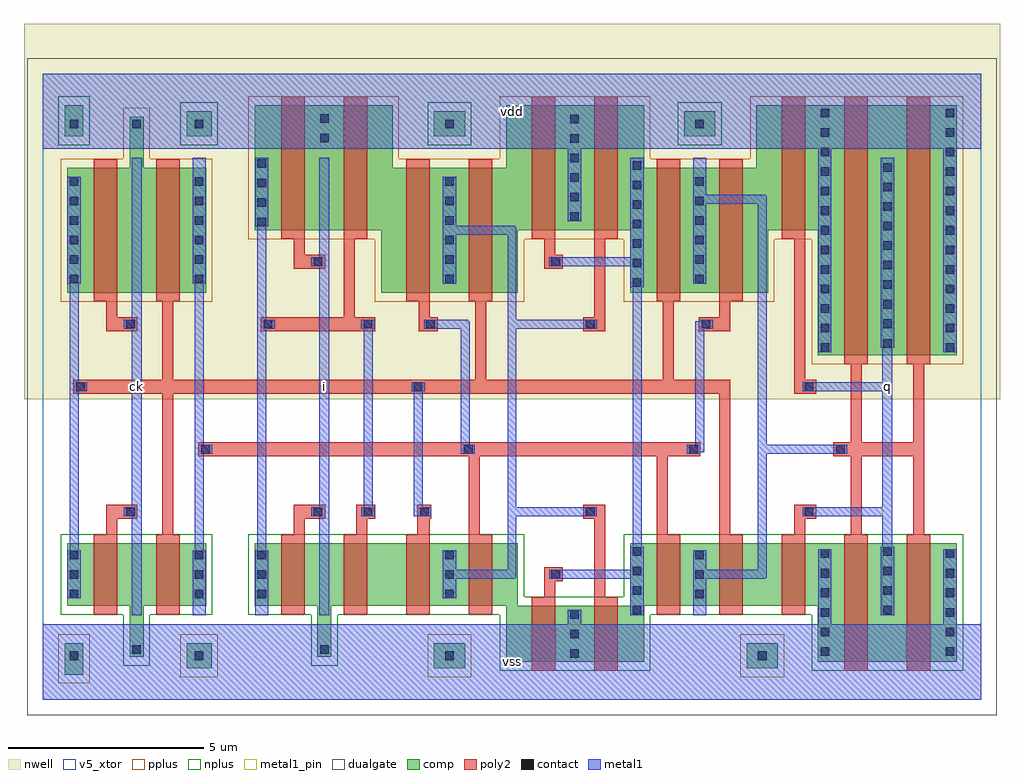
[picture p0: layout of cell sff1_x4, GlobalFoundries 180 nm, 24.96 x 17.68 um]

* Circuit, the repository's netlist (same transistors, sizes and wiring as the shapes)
* sff1_x4
.subckt sff1_x4 vss ck vdd i q
Mn_ck nckr ck vss vss nfet_06v0 l=0.6um w=1.6um
Mp_ck nckr ck vdd vdd pfet_06v0 l=0.6um w=3.2um
Mp_ckr_2 sff_s ckr _net0 vdd pfet_06v0 l=0.6um w=3.2um
Mn_ckr_1 sff_m ckr _net4 vss nfet_06v0 l=0.6um w=1.6um
Mn_ckr_2 y ckr sff_s vss nfet_06v0 l=0.6um w=1.6um
Mp_ckr_1 _net1 ckr sff_m vdd pfet_06v0 l=0.6um w=3.2um
Mp_i u i vdd vdd pfet_06v0 l=0.6um w=3.2um
Mn_i u i vss vss nfet_06v0 l=0.6um w=1.6um
Mn_nckr_1 vss nckr ckr vss nfet_06v0 l=0.6um w=1.6um
Mp_nckr_1 vdd nckr ckr vdd pfet_06v0 l=0.6um w=3.2um
Mp_nckr_2 sff_m nckr _net5 vdd pfet_06v0 l=0.6um w=3.2um
Mp_nckr_3 y nckr sff_s vdd pfet_06v0 l=0.6um w=3.2um
Mn_nckr_2 _net2 nckr sff_m vss nfet_06v0 l=0.6um w=1.6um
Mn_nckr_3 sff_s nckr _net6 vss nfet_06v0 l=0.6um w=1.6um
Mn_q_1 _net6 q vss vss nfet_06v0 l=0.6um w=1.6um
Mp_q_1 _net0 q vdd vdd pfet_06v0 l=0.6um w=3.2um
Mp_sffm_1 vdd sff_m y vdd pfet_06v0 l=0.6um w=3.2um
Mn_sffm_1 vss sff_m y vss nfet_06v0 l=0.6um w=1.44um
Mp_sffs_1 vdd sff_s q vdd pfet_06v0 l=0.6um w=6.4um
Mn_sffs_1 vss sff_s q vss nfet_06v0 l=0.6um w=3.04um
Mp_sffs_2 q sff_s vdd vdd pfet_06v0 l=0.6um w=6.4um
Mn_sffs_2 q sff_s vss vss nfet_06v0 l=0.6um w=3.04um
Mn_u vss u _net2 vss nfet_06v0 l=0.6um w=1.6um
Mp_u vdd u _net1 vdd pfet_06v0 l=0.6um w=3.2um
Mp_y_1 _net5 y vdd vdd pfet_06v0 l=0.6um w=3.2um
Mn_y_1 _net4 y vss vss nfet_06v0 l=0.6um w=1.44um
.ends sff1_x4

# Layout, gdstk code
import gdstk
lib = gdstk.Library(unit=1e-6, precision=1e-09)
def R(c, l, rs):  # rectangles x0, y0, x1, y1
    for r in rs: c.add(gdstk.rectangle(r[:2], r[2:], *l))
def A(c, l, x, y, w, h, nx, ny, dx, dy):  # array of equal rectangles
    R(c, l, [(x+i*dx, y+j*dy, x+i*dx+w, y+j*dy+h) for i in range(nx) for j in range(ny)])
def P(c, l, *ps):  # polygons
    for p in ps: c.add(gdstk.Polygon(p, *l))
nwell = (21, 0)
comp = (22, 0)
poly2 = (30, 0)
pplus = (31, 0)
nplus = (32, 0)
contact = (33, 0)
metal1 = (34, 0)
metal1_pin = (34, 10)
dualgate = (55, 0)
v5_xtor = (112, 1)

sff1_x4 = lib.new_cell('sff1_x4')
R(sff1_x4, nwell, [(-0.48,7.68,24.48,17.28)])
R(sff1_x4, comp, [(0.56,0.64,1.04,1.44), (3.68,0.8,4.32,1.44), (10,0.8,10.8,1.44), (18,0.8,18.8,1.44), (0.56,14.4,1.04,15.2), (3.68,14.4,4.32,15.04), (10,14.4,10.8,15.04), (16.4,14.4,17.2,15.04)])
P(sff1_x4, comp, [(2.22,1.1),(2.22,2.4),(0.62,2.4),(0.62,4),(4.18,4),(4.18,2.4),(2.58,2.4),(2.58,1.1)],
  [(0.62,10.4),(0.62,13.6),(2.22,13.6),(2.22,14.9),(2.58,14.9),(2.58,13.6),(4.18,13.6),(4.18,10.4)],
  [(11.85,0.96),(11.85,2.4),(7.38,2.4),(7.38,1.1),(7.02,1.1),(7.02,2.4),(5.42,2.4),(5.42,4),(12.15,4),(12.15,2.4),(15.02,2.4),(15.02,4),(23.38,4),(23.38,0.96),(19.82,0.96),(19.82,2.4),(15.38,2.4),(15.38,0.96)],
  [(19.82,8.8),(19.82,12),(18.55,12),(18.55,10.4),(15.02,10.4),(15.02,12),(12.15,12),(12.15,10.4),(8.65,10.4),(8.65,12),(5.42,12),(5.42,15.2),(8.95,15.2),(8.95,13.6),(11.85,13.6),(11.85,15.2),(15.38,15.2),(15.38,13.6),(18.25,13.6),(18.25,15.2),(23.38,15.2),(23.38,8.8)])
P(sff1_x4, poly2, [(2.9,2.18),(2.9,4.22),(3.06,4.22),(3.06,7.82),(0.78,7.82),(0.78,8.18),(3.06,8.18),(3.06,10.18),(2.9,10.18),(2.9,13.82),(3.5,13.82),(3.5,10.18),(3.34,10.18),(3.34,8.18),(11.06,8.18),(11.06,10.18),(10.9,10.18),(10.9,13.82),(11.5,13.82),(11.5,10.18),(11.34,10.18),(11.34,8.18),(15.86,8.18),(15.86,10.18),(15.7,10.18),(15.7,13.82),(16.3,13.82),(16.3,10.18),(16.14,10.18),(16.14,8.18),(17.58,8.18),(17.58,4.22),(17.9,4.22),(17.9,2.18),(17.3,2.18),(17.3,7.82),(3.34,7.82),(3.34,4.22),(3.5,4.22),(3.5,2.18)],
  [(9.3,2.18),(9.3,4.22),(9.58,4.22),(9.58,4.98),(9.94,4.98),(9.94,4.62),(9.9,4.62),(9.9,2.18)],
  [(1.62,9.42),(1.62,10.18),(1.3,10.18),(1.3,13.82),(1.9,13.82),(1.9,9.78),(2.42,9.78),(2.42,9.42)],
  [(1.3,2.18),(1.3,4.22),(1.62,4.22),(1.62,4.98),(2.42,4.98),(2.42,4.62),(1.9,4.62),(1.9,2.18)],
  [(20.5,0.74),(20.5,4.22),(20.66,4.22),(20.66,6.22),(20.22,6.22),(20.22,6.58),(20.66,6.58),(20.66,8.58),(20.5,8.58),(20.5,15.42),(21.1,15.42),(21.1,8.58),(20.94,8.58),(20.94,6.58),(22.26,6.58),(22.26,8.58),(22.1,8.58),(22.1,15.42),(22.7,15.42),(22.7,8.58),(22.54,8.58),(22.54,4.22),(22.7,4.22),(22.7,0.74),(22.1,0.74),(22.1,4.22),(22.26,4.22),(22.26,6.22),(20.94,6.22),(20.94,4.22),(21.1,4.22),(21.1,0.74)],
  [(9.62,9.42),(9.62,10.18),(9.3,10.18),(9.3,13.82),(9.9,13.82),(9.9,9.78),(10.1,9.78),(10.1,9.42)],
  [(10.9,2.18),(10.9,6.22),(3.98,6.22),(3.98,6.58),(16.82,6.58),(16.82,6.22),(15.98,6.22),(15.98,4.22),(16.3,4.22),(16.3,2.18),(15.7,2.18),(15.7,6.22),(11.18,6.22),(11.18,4.22),(11.5,4.22),(11.5,2.18)],
  [(16.78,9.42),(16.78,9.78),(17.3,9.78),(17.3,13.82),(17.9,13.82),(17.9,10.18),(17.58,10.18),(17.58,9.42)],
  [(13.82,9.42),(13.82,9.78),(14.1,9.78),(14.1,15.42),(14.7,15.42),(14.7,11.78),(14.38,11.78),(14.38,9.42)],
  [(14.1,0.74),(14.1,4.62),(13.82,4.62),(13.82,4.98),(14.38,4.98),(14.38,2.62),(14.7,2.62),(14.7,0.74)],
  [(12.5,0.74),(12.5,2.62),(12.82,2.62),(12.82,3.38),(13.3,3.38),(13.3,3.02),(13.1,3.02),(13.1,0.74)],
  [(12.82,11.02),(12.82,11.78),(12.5,11.78),(12.5,15.42),(13.1,15.42),(13.1,11.38),(13.3,11.38),(13.3,11.02)],
  [(5.58,9.42),(5.58,9.78),(7.7,9.78),(7.7,15.42),(8.3,15.42),(8.3,11.78),(7.98,11.78),(7.98,9.78),(8.5,9.78),(8.5,9.42)],
  [(7.7,2.18),(7.7,4.22),(8.02,4.22),(8.02,4.98),(8.5,4.98),(8.5,4.62),(8.3,4.62),(8.3,2.18)],
  [(6.1,2.18),(6.1,4.22),(6.42,4.22),(6.42,4.98),(7.22,4.98),(7.22,4.62),(6.7,4.62),(6.7,2.18)],
  [(6.42,11.02),(6.42,11.78),(6.1,11.78),(6.1,15.42),(6.7,15.42),(6.7,11.38),(7.22,11.38),(7.22,11.02)],
  [(19.22,7.82),(19.22,11.78),(18.9,11.78),(18.9,15.42),(19.5,15.42),(19.5,8.18),(19.78,8.18),(19.78,7.82)],
  [(18.9,2.18),(18.9,4.22),(19.22,4.22),(19.22,4.98),(19.78,4.98),(19.78,4.62),(19.5,4.62),(19.5,2.18)])
R(sff1_x4, pplus, [(0.4,0.41,1.2,1.67), (3.52,0.57,4.48,1.67), (9.84,0.57,10.96,1.67), (17.84,0.57,18.96,1.67)])
P(sff1_x4, pplus, [(19.66,8.57),(19.66,11.77),(18.71,11.77),(18.71,10.17),(14.86,10.17),(14.86,11.77),(12.31,11.77),(12.31,10.17),(8.49,10.17),(8.49,11.77),(5.26,11.77),(5.26,15.43),(9.11,15.43),(9.11,13.83),(11.69,13.83),(11.69,15.43),(15.54,15.43),(15.54,13.83),(18.09,13.83),(18.09,15.43),(23.54,15.43),(23.54,8.57)],
  [(0.46,10.17),(0.46,13.83),(2.06,13.83),(2.06,15.13),(2.74,15.13),(2.74,13.83),(4.34,13.83),(4.34,10.17)])
R(sff1_x4, nplus, [(0.4,14.17,1.2,15.43), (3.52,14.17,4.48,15.27), (9.84,14.17,10.96,15.27), (16.24,14.17,17.36,15.27)])
P(sff1_x4, nplus, [(2.06,0.87),(2.06,2.17),(0.46,2.17),(0.46,4.23),(4.34,4.23),(4.34,2.17),(2.74,2.17),(2.74,0.87)],
  [(11.69,0.73),(11.69,2.17),(7.54,2.17),(7.54,0.87),(6.86,0.87),(6.86,2.17),(5.26,2.17),(5.26,4.23),(12.31,4.23),(12.31,2.63),(14.86,2.63),(14.86,4.23),(23.54,4.23),(23.54,0.73),(19.66,0.73),(19.66,2.17),(15.54,2.17),(15.54,0.73)])
A(sff1_x4, contact, 13.49, 1.07, 0.22, 0.22, 1, 3, 0, 0.5)
A(sff1_x4, contact, 19.89, 1.12, 0.22, 0.22, 1, 6, 0, 0.5)
A(sff1_x4, contact, 23.09, 1.12, 0.22, 0.22, 1, 6, 0, 0.5)
A(sff1_x4, contact, 15.09, 2.18, 0.22, 0.22, 1, 4, 0, 0.5)
A(sff1_x4, contact, 21.49, 2.18, 0.22, 0.22, 1, 4, 0, 0.5)
A(sff1_x4, contact, 0.69, 2.59, 0.22, 0.22, 1, 3, 0, 0.5)
A(sff1_x4, contact, 3.89, 2.59, 0.22, 0.22, 1, 3, 0, 0.5)
A(sff1_x4, contact, 5.49, 2.59, 0.22, 0.22, 1, 3, 0, 0.5)
A(sff1_x4, contact, 10.29, 2.59, 0.22, 0.22, 1, 3, 0, 0.5)
A(sff1_x4, contact, 16.69, 2.59, 0.22, 0.22, 1, 3, 0, 0.5)
A(sff1_x4, contact, 19.89, 8.89, 0.22, 0.22, 1, 13, 0, 0.5)
A(sff1_x4, contact, 23.09, 8.89, 0.22, 0.22, 1, 13, 0, 0.5)
A(sff1_x4, contact, 21.49, 9, 0.22, 0.22, 1, 10, 0, 0.5)
A(sff1_x4, contact, 15.09, 10.55, 0.22, 0.22, 1, 7, 0, 0.5)
A(sff1_x4, contact, 0.69, 10.64, 0.22, 0.22, 1, 6, 0, 0.5)
A(sff1_x4, contact, 3.89, 10.64, 0.22, 0.22, 3, 6, 6.4, 0.5)
A(sff1_x4, contact, 5.49, 12.1, 0.22, 0.22, 1, 4, 0, 0.5)
A(sff1_x4, contact, 13.49, 12.24, 0.22, 0.22, 1, 6, 0, 0.5)
A(sff1_x4, contact, 0.69, 14.61, 0.22, 0.22, 3, 1, 1.6, 0)
R(sff1_x4, contact, [(0.69,1.01,0.91,1.23), (3.89,1.01,4.11,1.23), (10.29,1.01,10.51,1.23), (18.29,1.01,18.51,1.23), (2.29,1.17,2.51,1.39), (7.09,1.17,7.31,1.39), (13.01,3.09,13.23,3.31), (2.13,4.69,2.35,4.91), (6.93,4.69,7.15,4.91), (8.21,4.69,8.43,4.91), (9.65,4.69,9.87,4.91), (13.89,4.69,14.11,4.91), (19.49,4.69,19.71,4.91), (4.05,6.29,4.27,6.51), (10.77,6.29,10.99,6.51), (16.53,6.29,16.75,6.51), (20.29,6.29,20.51,6.51), (0.85,7.89,1.07,8.11), (9.49,7.89,9.71,8.11), (19.49,7.89,19.71,8.11), (2.13,9.49,2.35,9.71), (5.65,9.49,5.87,9.71), (8.21,9.49,8.43,9.71), (9.81,9.49,10.03,9.71), (13.89,9.49,14.11,9.71), (16.85,9.49,17.07,9.71), (6.93,11.09,7.15,11.31), (13.01,11.09,13.23,11.31), (7.09,14.25,7.31,14.47), (10.29,14.61,10.51,14.83), (16.69,14.61,16.91,14.83), (7.09,14.75,7.31,14.97)])
P(sff1_x4, metal1, [(0.63,2.585),(0.63,3.815),(0.685,3.815),(0.685,10.635),(0.63,10.635),(0.63,13.365),(0.97,13.365),(0.97,10.635),(0.915,10.635),(0.915,8.115),(1.13,8.115),(1.13,7.885),(0.915,7.885),(0.915,3.815),(0.97,3.815),(0.97,2.585)],
  [(9.485,4.685),(9.485,7.885),(9.43,7.885),(9.43,8.115),(9.77,8.115),(9.77,7.885),(9.715,7.885),(9.715,4.915),(9.93,4.915),(9.93,4.685)],
  [(0,0),(0,1.92),(13.43,1.92),(13.43,2.295),(13.77,2.295),(13.77,1.92),(19.83,1.92),(19.83,3.845),(20.17,3.845),(20.17,1.92),(23.03,1.92),(23.03,3.845),(23.37,3.845),(23.37,1.92),(24,1.92),(24,0)],
  [(2.27,2.15),(2.27,4.685),(2.07,4.685),(2.07,4.915),(2.27,4.915),(2.27,9.485),(2.07,9.485),(2.07,9.715),(2.27,9.715),(2.27,13.85),(2.53,13.85),(2.53,2.15)],
  [(19.83,8.885),(19.83,14.08),(13.77,14.08),(13.77,12.235),(13.43,12.235),(13.43,14.08),(0,14.08),(0,16),(24,16),(24,14.08),(23.37,14.08),(23.37,8.885),(23.03,8.885),(23.03,14.08),(20.17,14.08),(20.17,8.885)],
  [(16.63,2.15),(16.63,3.815),(16.97,3.815),(16.97,3.315),(18.285,3.315),(18.285,12.685),(16.97,12.685),(16.97,10.635),(16.63,10.635),(16.63,13.85),(16.97,13.85),(16.97,12.915),(18.48,12.915),(18.48,12.88),(18.515,12.88),(18.515,6.515),(20.57,6.515),(20.57,6.285),(18.515,6.285),(18.515,3.12),(18.48,3.12),(18.48,3.085),(16.97,3.085),(16.97,2.15)],
  [(16.47,6.285),(16.47,6.515),(16.685,6.515),(16.685,9.68),(16.79,9.68),(16.79,9.715),(17.13,9.715),(17.13,9.485),(16.915,9.485),(16.915,6.32),(16.81,6.32),(16.81,6.285)],
  [(3.83,2.15),(3.83,3.815),(3.885,3.815),(3.885,10.635),(3.83,10.635),(3.83,13.85),(4.17,13.85),(4.17,10.635),(4.115,10.635),(4.115,6.515),(4.33,6.515),(4.33,6.285),(4.115,6.285),(4.115,3.815),(4.17,3.815),(4.17,2.15)],
  [(10.685,6.285),(10.685,9.485),(9.75,9.485),(9.75,9.715),(10.88,9.715),(10.88,9.68),(10.915,9.68),(10.915,6.515),(11.05,6.515),(11.05,6.285)],
  [(10.23,2.585),(10.23,3.815),(10.57,3.815),(10.57,3.315),(11.885,3.315),(11.885,11.885),(10.57,11.885),(10.57,10.635),(10.23,10.635),(10.23,13.365),(10.57,13.365),(10.57,12.115),(12.08,12.115),(12.08,12.08),(12.115,12.08),(12.115,9.715),(14.17,9.715),(14.17,9.485),(12.115,9.485),(12.115,4.915),(14.17,4.915),(14.17,4.685),(12.115,4.685),(12.115,3.12),(12.08,3.12),(12.08,3.085),(10.57,3.085),(10.57,2.585)],
  [(15.03,2.15),(15.03,3.085),(12.95,3.085),(12.95,3.315),(15.03,3.315),(15.03,3.905),(15.085,3.905),(15.085,10.545),(15.03,10.545),(15.03,11.085),(12.95,11.085),(12.95,11.315),(15.03,11.315),(15.03,13.85),(15.37,13.85),(15.37,10.545),(15.315,10.545),(15.315,3.905),(15.37,3.905),(15.37,2.15)],
  [(8.15,4.685),(8.15,4.915),(8.205,4.915),(8.205,9.485),(8.15,9.485),(8.15,9.715),(8.49,9.715),(8.49,9.485),(8.435,9.485),(8.435,4.915),(8.49,4.915),(8.49,4.685)],
  [(5.43,2.15),(5.43,3.815),(5.485,3.815),(5.485,12.095),(5.43,12.095),(5.43,13.85),(5.77,13.85),(5.77,12.095),(5.715,12.095),(5.715,9.715),(5.93,9.715),(5.93,9.485),(5.715,9.485),(5.715,3.815),(5.77,3.815),(5.77,2.15)],
  [(7.07,2.15),(7.07,4.685),(6.87,4.685),(6.87,4.915),(7.07,4.915),(7.07,11.085),(6.87,11.085),(6.87,11.315),(7.07,11.315),(7.07,13.85),(7.33,13.85),(7.33,2.15)],
  [(21.43,2.15),(21.43,3.905),(21.47,3.905),(21.47,4.685),(19.43,4.685),(19.43,4.915),(21.47,4.915),(21.47,7.885),(19.43,7.885),(19.43,8.115),(21.47,8.115),(21.47,8.995),(21.43,8.995),(21.43,13.85),(21.77,13.85),(21.77,8.995),(21.73,8.995),(21.73,3.905),(21.77,3.905),(21.77,2.15)])
R(sff1_x4, metal1_pin, [(0,0,24,1.92), (2.27,2.15,2.53,13.85), (7.07,2.15,7.33,13.85), (21.47,2.15,21.73,13.85), (0,14.08,24,16)])
R(sff1_x4, dualgate, [(-0.4,-0.4,24.4,16.4)])
R(sff1_x4, v5_xtor, [(-0.005,-0.005,24.005,16.005)])
sff1_x4.add(gdstk.Label('vss', (12,0.96), layer=34, texttype=10))
sff1_x4.add(gdstk.Label('ck', (2.4,8), layer=34, texttype=10))
sff1_x4.add(gdstk.Label('vdd', (12,15.04), layer=34, texttype=10))
sff1_x4.add(gdstk.Label('i', (7.2,8), layer=34, texttype=10))
sff1_x4.add(gdstk.Label('q', (21.6,8), layer=34, texttype=10))

lib.write_gds('sff1_x4.gds')
